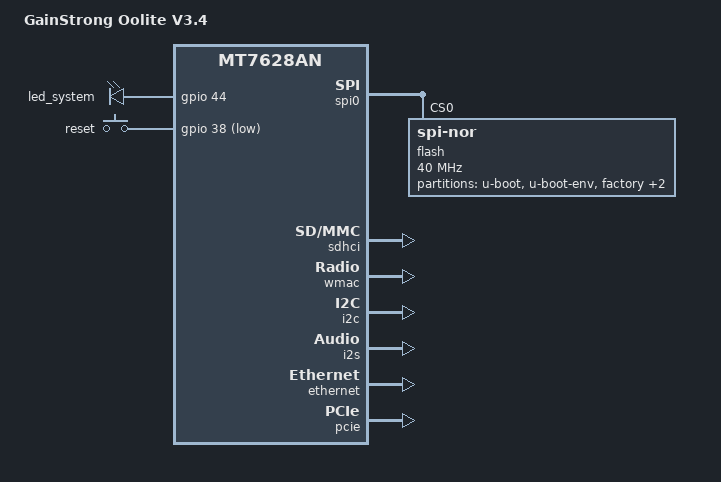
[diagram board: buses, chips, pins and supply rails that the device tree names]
#include "mt7628an.dtsi"

#include <dt-bindings/gpio/gpio.h>
#include <dt-bindings/input/input.h>

/ {
	compatible = "gainstrong,oolite-v3.4", "mediatek,mt7628an-soc";
	model = "GainStrong Oolite V3.4";

	aliases {
		led-boot = &led_system;
		led-failsafe = &led_system;
		led-running = &led_system;
		led-upgrade = &led_system;
	};

	leds {
		compatible = "gpio-leds";

		led_system: led_system {
			label = "led_system";
			gpios = <&gpio 44 GPIO_ACTIVE_HIGH>;
		};
	};

	keys {
		compatible = "gpio-keys";

		reset {
			label = "reset";
			gpios = <&gpio 38 GPIO_ACTIVE_LOW>;
			linux,code = <KEY_RESTART>;
		};
	};
};

&spi0 {
	status = "okay";

	flash@0 {
		compatible = "jedec,spi-nor";
		reg = <0>;
		spi-max-frequency = <40000000>;

		partitions {
			compatible = "gainstrong-dynamic-mtd";
			#address-cells = <1>;
			#size-cells = <1>;

			partition@0 {
				label = "u-boot";
				reg = <0x0 0x30000>;
			};

			partition@30000 {
				label = "u-boot-env";
				reg = <0x30000 0x10000>;
			};

			factory: partition@40000 {
				label = "factory";
				reg = <0x40000 0x10000>;
			};

			partition@50000 {
				compatible = "denx,uimage";
				dynamic-end;
				reg = <0x50000 0x0>;
				label = "firmware";
			};

			all {
				reg = <0x0 0x0>;
				label = "all";
			};
		};
	};
};

&state_default {
	gpio {
		groups = "wdt", "wled_an";
		function = "gpio";
	};
};

&sdhci {
	status = "okay";	
};

&wmac {
	status = "okay";
	mediatek,mtd-eeprom = <&factory 0x0>;
};

&i2c {
	status = "okay";
};

&i2s {
	status = "okay";
};

&factory {
	compatible = "nvmem-cells";
	#address-cells = <1>;
	#size-cells = <1>;

	macaddr: macaddr@4 {
		reg = <0x4 0x6>;
	};
};

&ethernet {
	status = "okay";

	nvmem-cells = <&macaddr>;
	nvmem-cell-names = "mac-address";
	mac-address-increment = <1>;
};

&pcie {
	status = "okay";
};

